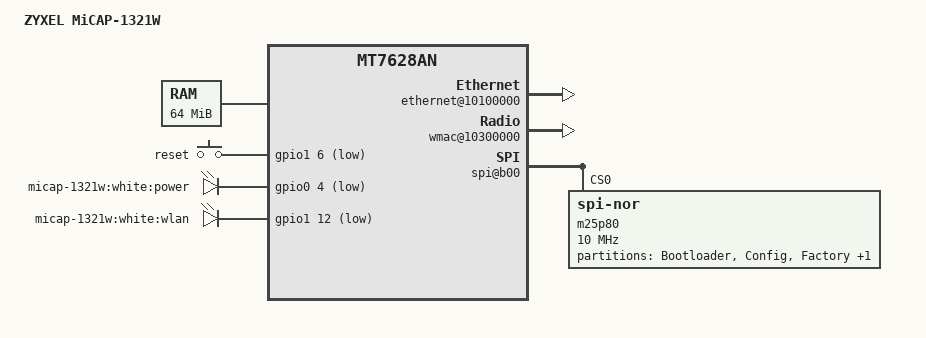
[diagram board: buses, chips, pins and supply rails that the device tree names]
/dts-v1/;

/include/ "mt7628an.dtsi"

/ {
	compatible = "zyxel,micap-1321w", "mediatek,mt7628an-soc";
	model = "ZYXEL MiCAP-1321W";

	chosen {
		bootargs = "console=ttyS0,115200";
	};

	memory@0 {
		device_type = "memory";
		reg = <0x0 0x4000000>;
	};

	pinctrl {
		state_default: pinctrl0 {
			gpio {
				ralink,group = "gpio";
				ralink,function = "gpio";
			};
		};
	};

	gpio-keys-polled {
		compatible = "gpio-keys-polled";
		#address-cells = <1>;
		#size-cells = <0>;
		poll-interval = <20>;

		reset {
			label = "reset";
			gpios = <&gpio1 6 1>;
			linux,code = <0x198>;
		};
	};

	gpio-leds {
		compatible = "gpio-leds";

		power {
			label = "micap-1321w:white:power";
			gpios = <&gpio0 4 1>;
		};

		wlan {
			label = "micap-1321w:white:wlan";
			gpios = <&gpio1 12 1>;
		};
	};

	ethernet@10100000 {
		status = "okay";
		mtd-mac-address = <&factory 0x4>;
		mediatek,portmap = "wllll";
	};

	esw@10110000 {
		status = "okay";
		ralink,portmap = <0x3e>;
	};

	wmac@10300000 {
		status = "okay";
		ralink,mtd-eeprom = <&factory 0>;
	};

	palmbus@10000000 {
		spi@b00 {
			status = "okay";

			m25p80@0 {
				#address-cells = <1>;
				#size-cells = <1>;
				compatible = "jedec,spi-nor";
				reg = <0 0>;
				linux,modalias = "m25p80";
				spi-max-frequency = <10000000>;
				m25p,chunked-io = <32>;

				partition@0 {
					label = "Bootloader";
					reg = <0x0 0x30000>;
					read-only;
				};

				partition@30000 {
					label = "Config";
					reg = <0x30000 0x10000>;
					read-only;
				};

				factory: partition@40000 {
					label = "Factory";
					reg = <0x40000 0x10000>;
					read-only;
				};

				partition@50000 {
					label = "firmware";
					reg = <0x50000 0x7b0000>;
				};
			};
		};
	};
};
